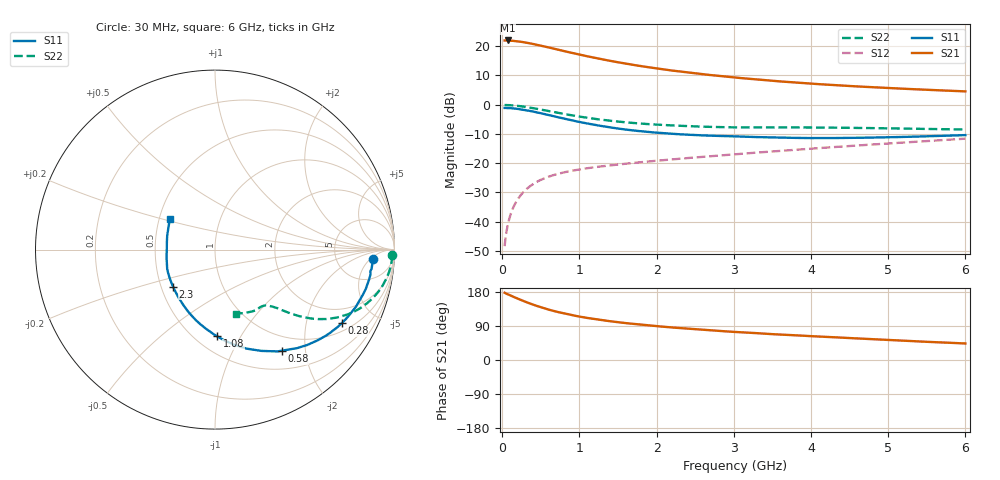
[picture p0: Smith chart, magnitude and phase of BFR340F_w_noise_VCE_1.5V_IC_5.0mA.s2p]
! Infineon Technologies  Discrete & RF Semiconductors
! BFR340F
! VCE =  1.5 V,  IC =  5.0 mA
! Common Emitter S-Parameters:  Nov 2015
# GHz  S  MA  R  50
!  f  S11  S21  S12  S22
! GHz  MAG  ANG  MAG  ANG  MAG  ANG  MAG  ANG
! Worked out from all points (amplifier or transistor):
!   206 points, 30 MHz to 6 GHz, reference 50 ohm
!   highest |S21| = 22.0 dB at 70 MHz (marker M1)
!   |S21| within 3 dB of that: start of sweep to 698.2 MHz
!   unconditionally stable (mu >= 1): 2.791 GHz to end of sweep
!   at 200 MHz: K = 0.13, MSG = 27.0 dB, |S12| = -32.4 dB
!   at 1.56 GHz: K = 0.77, MSG = 17.3 dB, |S12| = -20.3 dB
!   at 6 GHz: K = 1.00, MAG = 7.8 dB, |S12| = -11.6 dB
!   lowest NFmin = 0.95 dB at 100 MHz
!   S11 on the Smith chart (normalised r, x): 30 MHz: 13, -6; 280 MHz: 1.31, -3.22; 580 MHz: 0.76, -1.58; 1.08 GHz: 0.63, -0.80; 2.3 GHz: 0.58, -0.26; 6 GHz: 0.57, +0.21
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0.03  0.8807 -3.3  12.55 177.5  0.0038 89.2  0.9882 -1.8
0.07  0.8741 -8.0  12.56 173.3  0.0087 85.0  0.9856 -4.3
0.14  0.865 -15.5  12.38 167.2  0.0173 81.4  0.9727 -8.6
0.195  0.8487 -21.5  12.15 162.3  0.0235 78.6  0.9569 -11.8
0.28  0.8162 -30.1  11.7 155.2  0.0327 74.1  0.9255 -16.3
0.34  0.7909 -36.0  11.33 150.4  0.0385 71.5  0.8997 -19.3
0.42  0.7529 -43.3  10.78 144.6  0.0456 68.2  0.8629 -22.8
0.5  0.7145 -50.2  10.23 139.2  0.0519 65.4  0.8249 -25.9
0.58  0.6749 -56.6  9.677 134.2  0.0573 62.9  0.7874 -28.4
0.7  0.6202 -65.5  8.883 127.5  0.0646 60.1  0.7343 -31.8
0.8  0.5791 -72.3  8.261 122.7  0.0696 58.4  0.6942 -33.9
1.04  0.4944 -86.5  7.015 113.2  0.0797 55.7  0.6146 -37.6
1.08  0.4831 -88.7  6.831 111.7  0.0812 55.4  0.6033 -38.1
1.3  0.429 -100.0  5.956 105.0  0.0887 54.5  0.5507 -40.2
1.5  0.3909 -109.3  5.318 99.7  0.095 54.3  0.5143 -41.6
1.78  0.353 -120.6  4.61 93.5  0.1034 54.6  0.4771 -43.2
2.02  0.3307 -129.4  4.14 89.0  0.1106 55.2  0.455 -44.5
2.3  0.3118 -138.7  3.7 84.3  0.1191 56.0  0.4359 -45.9
3.1  0.2845 -159.8  2.849 73.1  0.1449 58.1  0.4093 -50.7
4.1  0.2685 -179.7  2.247 62.0  0.1808 60.0  0.4072 -55.8
5.1  0.2791 161.7  1.902 51.9  0.2212 60.5  0.3928 -63.5
6  0.3019 146.2  1.69 43.6  0.2625 59.8  0.3761 -71.6
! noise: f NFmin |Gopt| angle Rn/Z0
0.1  0.95  0.54  1  0.31
0.45  1.09  0.48  3  0.33
0.9  1.1  0.48  12  0.36
1.9  1.33  0.35  18  0.33
2.4  1.45  0.32  29  0.31
